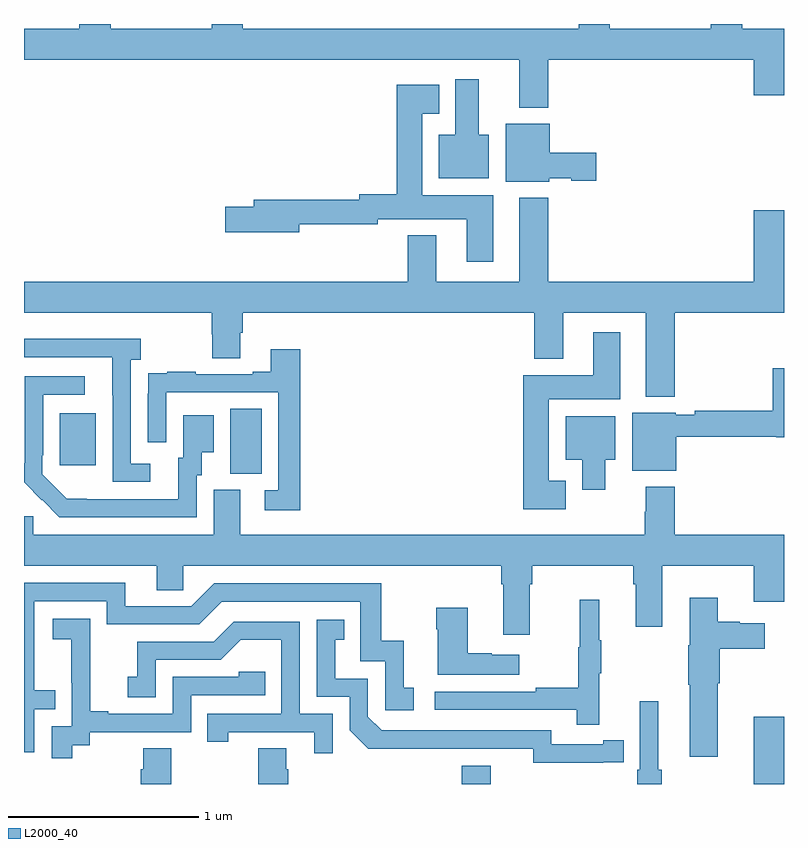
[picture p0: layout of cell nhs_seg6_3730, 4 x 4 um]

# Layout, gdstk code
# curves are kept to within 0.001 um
import gdstk
lib = gdstk.Library(unit=1e-6, precision=1e-09)
def R(c, l, rs):  # rectangles x0, y0, x1, y1
    for r in rs: c.add(gdstk.rectangle(r[:2], r[2:], *l))
def P(c, l, *ps):  # polygons
    for p in ps: c.add(gdstk.Polygon(p, *l))
L2000_40 = (2000, 40)

nhs_seg6_3730 = lib.new_cell('nhs_seg6_3730')
R(nhs_seg6_3730, L2000_40, [(331.304,967.5,331.456,967.597), (332.84,967.5,333,967.855), (330.086,969.133,330.25,969.476), (329.189,969.177,329.377,969.451)])
P(nhs_seg6_3730, L2000_40, [(331.76,971.312),(332.84,971.312),(332.84,971.124),(333,971.124),(333,971.476),(332.78,971.476),(332.78,971.5),(332.615,971.5),(332.615,971.476),(332.084,971.476),(332.084,971.5),(331.919,971.5),(331.919,971.476),(330.152,971.476),(330.152,971.5),(329.987,971.5),(329.987,971.476),(329.456,971.476),(329.456,971.5),(329.291,971.5),(329.291,971.476),(329,971.476),(329,971.312),(331.607,971.312),(331.607,971.06),(331.76,971.06)],
  [(331.447,970.918),(331.393,970.918),(331.393,971.209),(331.271,971.209),(331.271,970.918),(331.184,970.918),(331.184,970.688),(331.447,970.688)],
  [(331.471,970.6),(331.096,970.6),(331.096,971.027),(331.186,971.027),(331.186,971.179),(330.962,971.179),(330.962,970.604),(330.764,970.604),(330.764,970.574),(330.209,970.574),(330.209,970.538),(330.06,970.538),(330.06,970.403),(330.448,970.403),(330.448,970.446),(330.862,970.446),(330.862,970.472),(331.331,970.472),(331.331,970.248),(331.471,970.248)],
  [(331.764,970.688),(331.881,970.688),(331.881,970.676),(332.011,970.676),(332.011,970.823),(331.768,970.823),(331.768,970.975),(331.535,970.975),(331.535,970.67),(331.764,970.67)],
  [(332.426,969.98),(333,969.98),(333,970.519),(332.84,970.519),(332.84,970.144),(331.76,970.144),(331.76,970.585),(331.607,970.585),(331.607,970.144),(331.171,970.144),(331.171,970.387),(331.019,970.387),(331.019,970.144),(329,970.144),(329,969.98),(329.987,969.98),(329.987,969.867),(329.992,969.867),(329.992,969.742),(330.139,969.742),(330.139,969.874),(330.152,969.874),(330.152,969.98),(331.685,969.98),(331.685,969.737),(331.837,969.737),(331.837,969.98),(332.273,969.98),(332.273,969.539),(332.426,969.539)],
  [(331.852,969.097),(331.762,969.097),(331.762,969.524),(332.137,969.524),(332.137,969.877),(331.997,969.877),(331.997,969.652),(331.628,969.652),(331.628,968.945),(331.852,968.945)],
  [(329.665,969.186),(329.562,969.186),(329.562,969.734),(329.614,969.734),(329.614,969.844),(329,969.844),(329,969.747),(329.465,969.747),(329.465,969.547),(329.466,969.547),(329.466,969.09),(329.665,969.09)],
  [(330.455,969.787),(330.299,969.787),(330.299,969.67),(330.203,969.67),(330.203,969.657),(329.903,969.657),(329.903,969.67),(329.755,969.67),(329.755,969.663),(329.653,969.663),(329.653,969.554),(329.652,969.554),(329.652,969.3),(329.748,969.3),(329.748,969.561),(330.339,969.561),(330.339,969.045),(330.267,969.045),(330.267,968.94),(330.455,968.94)],
  [(332.434,969.328),(332.958,969.328),(332.958,969.326),(333,969.326),(333,969.688),(332.942,969.688),(332.942,969.464),(332.53,969.464),(332.53,969.444),(332.43,969.444),(332.43,969.454),(332.201,969.454),(332.201,969.149),(332.434,969.149)],
  [(329.91,969.126),(329.935,969.126),(329.935,969.245),(329.998,969.245),(329.998,969.442),(329.837,969.442),(329.837,969.216),(329.813,969.216),(329.813,969),(329.226,969.001),(329.097,969.129),(329.097,969.229),(329.1,969.229),(329.1,969.549),(329.32,969.549),(329.32,969.645),(329.004,969.645),(329.004,969.187),(329,969.187),(329,969.088),(329.186,968.904),(329.91,968.904)],
  [(332.059,969.206),(332.113,969.206),(332.113,969.436),(331.85,969.436),(331.85,969.206),(331.937,969.206),(331.937,969.048),(332.059,969.048)],
  [(332.273,969.064),(332.273,968.933),(332.266,968.933),(332.266,968.812),(330.139,968.812),(330.139,969.048),(329.999,969.048),(329.999,968.812),(329.049,968.812),(329.049,968.91),(329,968.91),(329,968.648),(329.699,968.648),(329.699,968.521),(329.838,968.521),(329.838,968.648),(331.511,968.648),(331.511,968.552),(331.523,968.552),(331.523,968.286),(331.663,968.286),(331.663,968.552),(331.676,968.552),(331.676,968.648),(332.207,968.648),(332.207,968.552),(332.219,968.552),(332.219,968.328),(332.359,968.328),(332.359,968.648),(332.84,968.648),(332.84,968.46),(333,968.46),(333,968.812),(332.426,968.812),(332.426,969.064)],
  [(329.055,967.893),(329.165,967.893),(329.165,967.994),(329.055,967.994),(329.055,968.463),(329.436,968.463),(329.436,968.34),(329.922,968.34),(330.042,968.46),(330.771,968.46),(330.771,968.145),(330.9,968.145),(330.9,967.887),(331.051,967.887),(331.051,968.007),(330.998,968.007),(330.998,968.254),(330.88,968.254),(330.88,968.556),(330,968.556),(329.88,968.436),(329.533,968.436),(329.533,968.559),(329,968.559),(329,967.668),(329.055,967.668)],
  [(332.65,968.029),(332.663,968.029),(332.663,968.213),(332.899,968.213),(332.899,968.347),(332.766,968.347),(332.766,968.355),(332.65,968.355),(332.65,968.479),(332.504,968.479),(332.504,968.229),(332.497,968.229),(332.497,968.023),(332.504,968.023),(332.504,967.644),(332.65,967.644)],
  [(332.027,968.083),(332.038,968.083),(332.038,968.257),(332.027,968.257),(332.027,968.47),(331.924,968.47),(331.924,968.22),(331.917,968.22),(331.917,968.006),(331.693,968.006),(331.693,967.986),(331.161,967.986),(331.161,967.89),(331.909,967.89),(331.909,967.812),(332.027,967.812)],
  [(331.606,968.179),(331.463,968.179),(331.463,968.189),(331.336,968.189),(331.336,968.428),(331.171,968.428),(331.171,968.315),(331.178,968.315),(331.178,968.075),(331.606,968.075)],
  [(329.254,967.705),(329.346,967.705),(329.346,967.773),(329.88,967.773),(329.88,967.968),(330.269,967.968),(330.269,968.091),(330.129,968.091),(330.129,968.064),(329.784,968.064),(329.784,967.869),(329.443,967.869),(329.443,967.882),(329.348,967.882),(329.348,968.165),(329.349,968.165),(329.349,968.371),(329.151,968.371),(329.151,968.261),(329.249,968.261),(329.249,968.033),(329.25,968.033),(329.25,967.803),(329.145,967.803),(329.145,967.635),(329.254,967.635)],
  [(332.048,967.614),(332.156,967.614),(332.156,967.73),(332.048,967.73),(332.048,967.71),(331.776,967.71),(331.776,967.782),(330.882,967.782),(330.81,967.854),(330.81,968.055),(330.637,968.055),(330.637,968.259),(330.686,968.259),(330.686,968.365),(330.54,968.365),(330.54,967.959),(330.714,967.959),(330.714,967.782),(330.812,967.685),(331.68,967.686),(331.68,967.613)],
  [(330.624,967.869),(330.45,967.869),(330.45,968.355),(330.104,968.355),(329.999,968.25),(329.596,968.25),(329.596,968.065),(329.547,968.065),(329.547,967.956),(329.694,967.956),(329.694,968.154),(330.036,968.154),(330.14,968.258),(330.354,968.258),(330.354,967.869),(329.965,967.869),(329.965,967.722),(330.076,967.722),(330.076,967.773),(330.527,967.773),(330.527,967.662),(330.624,967.662)],
  [(332.357,967.576),(332.338,967.576),(332.338,967.936),(332.241,967.936),(332.241,967.576),(332.228,967.576),(332.228,967.5),(332.357,967.5)],
  [(329.775,967.688),(329.627,967.688),(329.627,967.578),(329.615,967.578),(329.615,967.5),(329.775,967.5)],
  [(330.392,967.578),(330.379,967.578),(330.379,967.688),(330.232,967.688),(330.232,967.5),(330.392,967.5)])

lib.write_gds('nhs_seg6_3730.gds')
